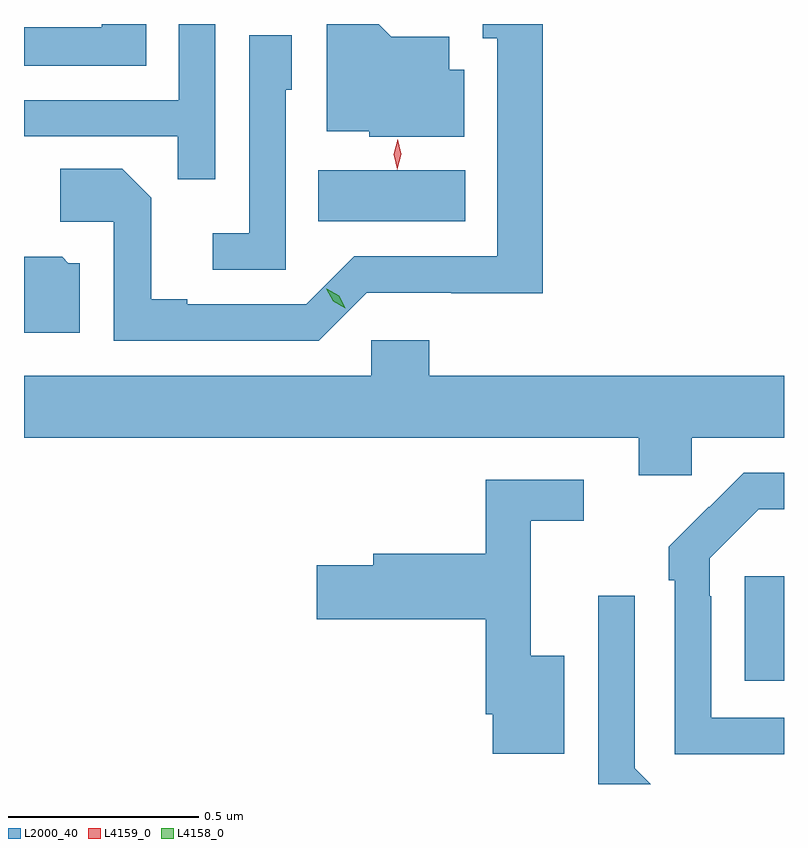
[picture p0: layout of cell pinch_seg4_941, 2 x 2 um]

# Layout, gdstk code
import gdstk
lib = gdstk.Library(unit=1e-6, precision=1e-09)
def R(c, l, rs):  # rectangles x0, y0, x1, y1
    for r in rs: c.add(gdstk.rectangle(r[:2], r[2:], *l))
def P(c, l, *ps):  # polygons
    for p in ps: c.add(gdstk.Polygon(p, *l))
L2000_40 = (2000, 40)
L4158_0 = (4158, 0)
L4159_0 = (4159, 0)

pinch_seg4_941 = lib.new_cell('pinch_seg4_941')
R(pinch_seg4_941, L2000_40, [(650.867,797.513,650.97,797.788), (649.744,798.722,650.131,798.856)])
P(pinch_seg4_941, L2000_40, [(649.473,799.241),(649.377,799.241),(649.377,799.041),(648.97,799.041),(648.97,798.945),(649.375,798.945),(649.375,798.832),(649.473,798.832)],
  [(650.128,799.12),(650.089,799.12),(650.089,799.207),(649.937,799.207),(649.903,799.241),(649.767,799.241),(649.767,798.959),(649.878,798.959),(649.878,798.944),(650.128,798.944)],
  [(649.292,799.241),(649.174,799.241),(649.174,799.232),(648.97,799.232),(648.97,799.131),(649.292,799.131)],
  [(649.872,798.534),(650.094,798.534),(650.094,798.533),(650.335,798.533),(650.335,799.241),(650.177,799.241),(650.177,799.203),(650.216,799.203),(650.216,798.63),(649.839,798.63),(649.713,798.504),(649.399,798.504),(649.399,798.517),(649.305,798.517),(649.305,798.784),(649.229,798.86),(649.065,798.86),(649.065,798.72),(649.206,798.72),(649.206,798.408),(649.746,798.408)],
  [(649.659,799.068),(649.674,799.068),(649.674,799.211),(649.563,799.211),(649.563,798.691),(649.467,798.691),(649.467,798.594),(649.659,798.594)],
  [(649.117,798.612),(649.086,798.612),(649.07,798.628),(648.97,798.628),(648.97,798.428),(649.117,798.428)],
  [(650.727,798.152),(650.97,798.152),(650.97,798.316),(650.036,798.316),(650.036,798.409),(649.884,798.409),(649.884,798.316),(648.97,798.316),(648.97,798.152),(650.588,798.152),(650.588,798.054),(650.727,798.054)],
  [(650.97,797.415),(650.778,797.415),(650.778,797.735),(650.775,797.735),(650.775,797.835),(650.904,797.964),(650.97,797.964),(650.97,798.06),(650.864,798.06),(650.773,797.969),(650.772,797.97),(650.667,797.865),(650.667,797.777),(650.682,797.777),(650.682,797.319),(650.97,797.319)],
  [(650.392,797.578),(650.303,797.578),(650.303,797.934),(650.443,797.934),(650.443,798.042),(650.185,798.042),(650.185,797.847),(649.889,797.847),(649.889,797.817),(649.74,797.817),(649.74,797.675),(650.185,797.675),(650.185,797.425),(650.204,797.425),(650.204,797.321),(650.392,797.321)],
  [(650.577,797.283),(650.577,797.737),(650.481,797.737),(650.481,797.241),(650.619,797.241)])
P(pinch_seg4_941, L4158_0, [(649.816,798.493),(649.784,798.512),(649.766,798.544),(649.766,798.544),(649.767,798.544),(649.799,798.526),(649.816,798.493),(649.816,798.493)])
P(pinch_seg4_941, L4159_0, [(649.952,798.858),(649.952,798.859),(649.943,798.898),(649.953,798.938),(649.953,798.938),(649.954,798.938),(649.963,798.898),(649.952,798.859)])

lib.write_gds('pinch_seg4_941.gds')
